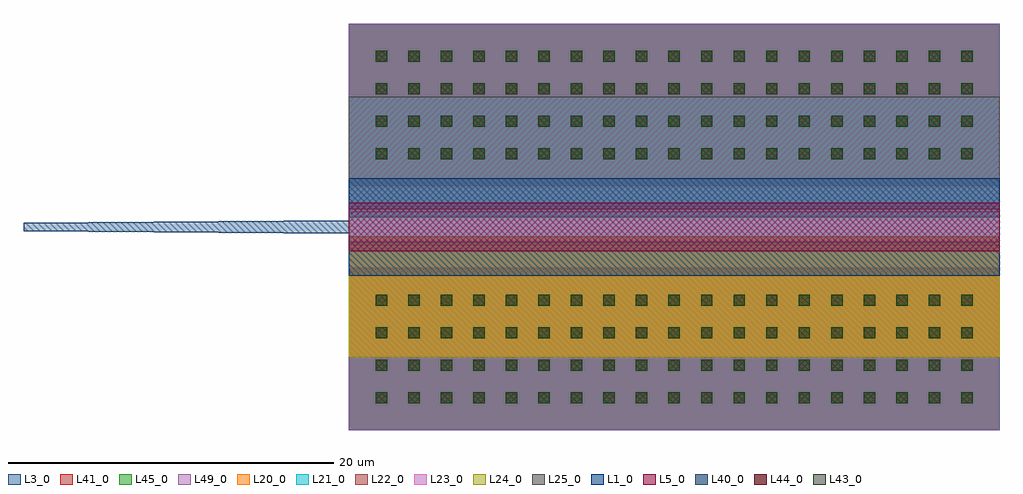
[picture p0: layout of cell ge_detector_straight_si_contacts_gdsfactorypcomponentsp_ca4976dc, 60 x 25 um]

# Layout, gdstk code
import gdstk
lib = gdstk.Library(unit=1e-6, precision=1e-09)
def R(c, l, rs):  # rectangles x0, y0, x1, y1
    for r in rs: c.add(gdstk.rectangle(r[:2], r[2:], *l))
def P(c, l, *ps):  # polygons
    for p in ps: c.add(gdstk.Polygon(p, *l))
L1_0 = (1, 0)
L3_0 = (3, 0)
L5_0 = (5, 0)
L20_0 = (20, 0)
L21_0 = (21, 0)
L22_0 = (22, 0)
L23_0 = (23, 0)
L24_0 = (24, 0)
L25_0 = (25, 0)
L40_0 = (40, 0)
L41_0 = (41, 0)
L43_0 = (43, 0)
L44_0 = (44, 0)
L45_0 = (45, 0)
L49_0 = (49, 0)

straight_gdsfactorypcomp = lib.new_cell('straight_gdsfactorypcomponentspwaveguidespstraight_L40__e75c9e9b')
R(straight_gdsfactorypcomp, L1_0, [(0,-3,40,3)])
R(straight_gdsfactorypcomp, L5_0, [(0,-1.5,40,1.5)])
R(straight_gdsfactorypcomp, L20_0, [(0,-8,40,-0.6)])
R(straight_gdsfactorypcomp, L21_0, [(0,0.6,40,8)])
R(straight_gdsfactorypcomp, L22_0, [(0,-8,40,-0.9)])
R(straight_gdsfactorypcomp, L23_0, [(0,0.9,40,8)])
R(straight_gdsfactorypcomp, L24_0, [(0,-8,40,-1.1)])
R(straight_gdsfactorypcomp, L25_0, [(0,1.1,40,8)])

taper_gdsfactorypcompone = lib.new_cell('taper_gdsfactorypcomponentsptapersptaper_L20_W0p5_W0p8__54ea6115')
P(taper_gdsfactorypcompone, L1_0, [(20,-0.4),(0,-0.25),(0,0.25),(20,0.4)])

compass_gdsfactorypcompo = lib.new_cell('compass_gdsfactorypcomponentspshapespcompass_S40_10_LSL_1ad8fd33')
R(compass_gdsfactorypcompo, L3_0, [(-20,-5,20,5)])

c_compass_gdsfactorypcompo = lib.new_cell('compass_gdsfactorypcomponentspshapespcompass_S40_10_LM1_dc701dbe')
R(c_compass_gdsfactorypcompo, L41_0, [(-20,-5,20,5)])

c_compass_gdsfactorypcompo_ = lib.new_cell('compass_gdsfactorypcomponentspshapespcompass_S40_10_LM2_fafd2bda')
R(c_compass_gdsfactorypcompo_, L45_0, [(-20,-5,20,5)])

c_compass_gdsfactorypcompo__ = lib.new_cell('compass_gdsfactorypcomponentspshapespcompass_S40_10_LM3_8bd7278e')
R(c_compass_gdsfactorypcompo__, L49_0, [(-20,-5,20,5)])

via_gdsfactorypcomponent = lib.new_cell('via_gdsfactorypcomponentspviaspvia_S0p7_0p7_E1_LVIAC_BL_572539c8')
R(via_gdsfactorypcomponent, L40_0, [(-0.35,-0.35,0.35,0.35)])

c_via_gdsfactorypcomponent = lib.new_cell('via_gdsfactorypcomponentspviaspvia_S0p7_0p7_E1_LVIA1_BL_0068d91e')
R(c_via_gdsfactorypcomponent, L44_0, [(-0.35,-0.35,0.35,0.35)])

c_via_gdsfactorypcomponent_ = lib.new_cell('via_gdsfactorypcomponentspviaspvia_S0p7_0p7_E1_LVIA2_BL_c51b5ebb')
R(c_via_gdsfactorypcomponent_, L43_0, [(-0.35,-0.35,0.35,0.35)])

via_stack_gdsfactorypcom = lib.new_cell('via_stack_gdsfactorypcomponentspviaspvia_stack_S40_10_L_67a2fd6a')
via_stack_gdsfactorypcom.add(gdstk.Reference(compass_gdsfactorypcompo, (0,0)))
via_stack_gdsfactorypcom.add(gdstk.Reference(c_compass_gdsfactorypcompo, (0,0)))
via_stack_gdsfactorypcom.add(gdstk.Reference(c_compass_gdsfactorypcompo_, (0,0)))
via_stack_gdsfactorypcom.add(gdstk.Reference(c_compass_gdsfactorypcompo__, (0,0)))
r = gdstk.Reference(via_gdsfactorypcomponent, (-18,-3)); r.repetition = gdstk.Repetition(19, 4, v1=(2,0), v2=(0,2)); via_stack_gdsfactorypcom.add(r)
r = gdstk.Reference(c_via_gdsfactorypcomponent, (-18,-3)); r.repetition = gdstk.Repetition(19, 4, v1=(2,0), v2=(0,2)); via_stack_gdsfactorypcom.add(r)
r = gdstk.Reference(c_via_gdsfactorypcomponent_, (-18,-3)); r.repetition = gdstk.Repetition(19, 4, v1=(2,0), v2=(0,2)); via_stack_gdsfactorypcom.add(r)

ge_detector_straight_si_ = lib.new_cell('ge_detector_straight_si_contacts_gdsfactorypcomponentsp_ca4976dc')
ge_detector_straight_si_.add(gdstk.Reference(straight_gdsfactorypcomp, (0,0)))
ge_detector_straight_si_.add(gdstk.Reference(taper_gdsfactorypcompone, (-20,0)))
ge_detector_straight_si_.add(gdstk.Reference(via_stack_gdsfactorypcom, (20,7.5)))
ge_detector_straight_si_.add(gdstk.Reference(via_stack_gdsfactorypcom, (20,-7.5)))

lib.write_gds('ge_detector_straight_si_contacts_gdsfactorypcomponentsp_ca4976dc.gds')
